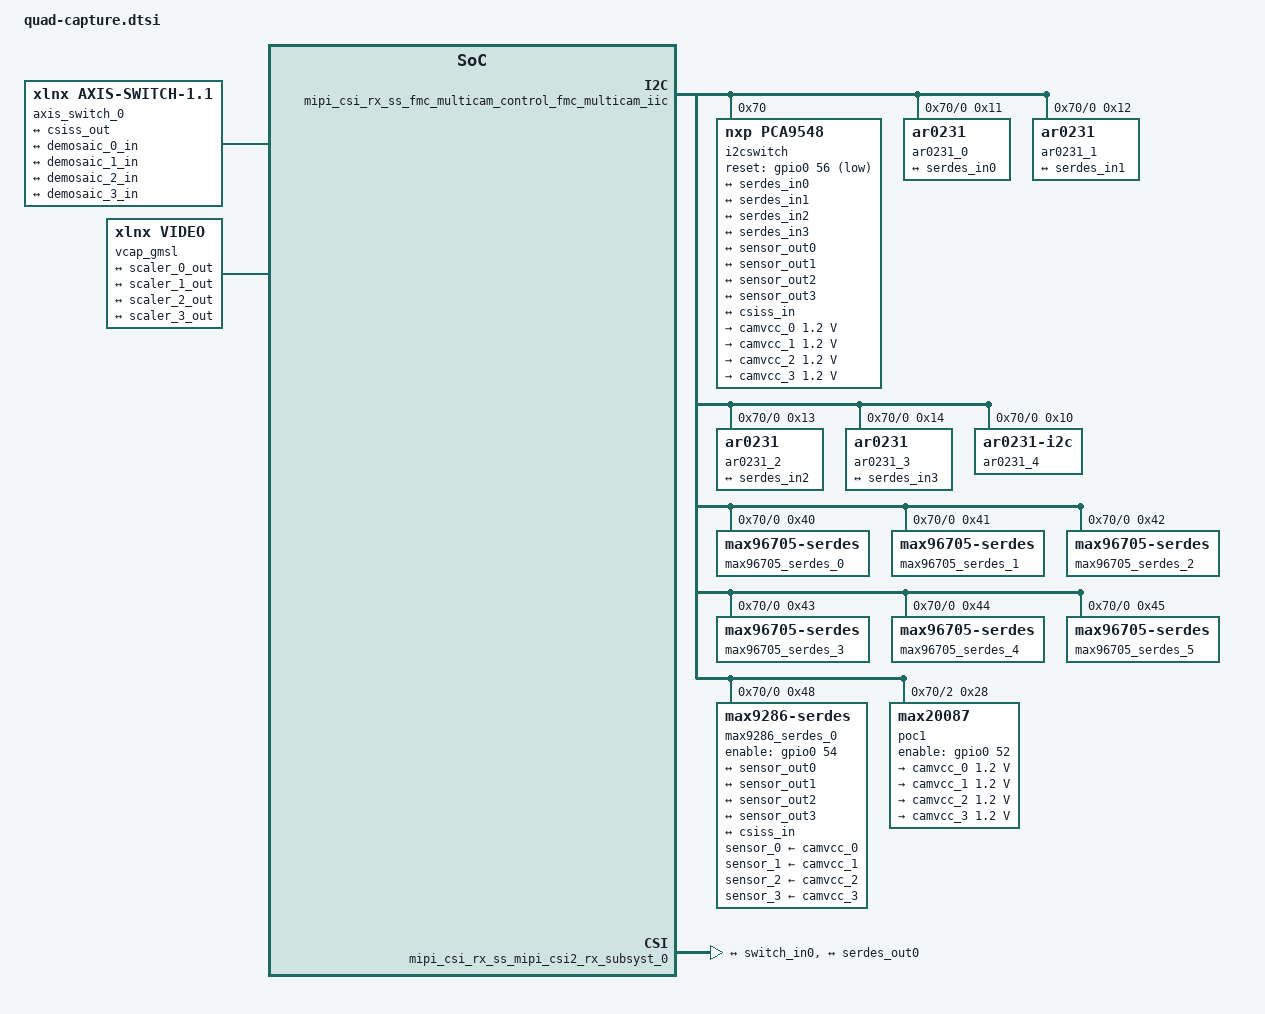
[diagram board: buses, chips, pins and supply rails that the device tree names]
#include <dt-bindings/media/xilinx-vip.h>

&amba_pl {
	cap_pipe_pipe_0_v_demosaic_0: v_demosaic@a40c0000 {
		clock-names = "ap_clk";
		clocks = <&misc_clk_0>;
		compatible = "xlnx,v-demosaic-1.0", "xlnx,v-demosaic";
		reg = <0x0 0xa40c0000 0x0 0x10000>;
		reset-gpios = <&gpio0 27 1>;
		xlnx,max-height = <1080>;
		xlnx,max-width = <1920>;
		xlnx,s-axi-ctrl-addr-width = <6>;
		xlnx,s-axi-ctrl-data-width = <32>;
		ports {
			#address-cells = <1>;
			#size-cells = <0>;

			port@0 {
				reg = <0>;

				xlnx,video-width = <8>;
				xlnx,cfa-pattern = "grbg";

				demosaic_0_in: endpoint {
					remote-endpoint = <&switch_out0>;
				};
			};

			port@1 {
				reg = <1>;

				xlnx,video-width = <8>;

				demosaic_0_out: endpoint {
					remote-endpoint = <&scaler_0_in>;
				};
			};
		};
	};
	cap_pipe_pipe_0_v_scaler_0: scaler@a4080000 {
		compatible = "xlnx,v-vpss-scaler-2.2";
		reg = <0x0 0xa4080000 0x0 0x40000>;
		clock-names = "aclk_axis", "aclk_ctrl";
		clocks = <&misc_clk_0>, <&misc_clk_0>;
		xlnx,num-hori-taps = <6>;
		xlnx,num-vert-taps = <6>;
		xlnx,pix-per-clk = <2>;
		reset-gpios = <&gpio0 28 1>;
		xlnx,max-width = <1920>;
		xlnx,max-height = <1080>;

		ports {
			#address-cells = <1>;
			#size-cells = <0>;

			port@0 {
				reg = <0>;
				xlnx,video-format = <XVIP_VF_RBG>;
				xlnx,video-width = <8>;

				scaler_0_in: endpoint {
				        remote-endpoint = <&demosaic_0_out>;
				};
			};
			port@1 {
				reg = <1>;
				xlnx,video-format = <XVIP_VF_YUV_422>;
				xlnx,video-width = <8>;

				scaler_0_out: endpoint {
				        remote-endpoint = <&vcap_gmsl_in0>;
				};
			};
		};
	};

	cap_pipe_pipe_0_v_frmbuf_wr_0: v_frmbuf_wr@a40D0000 {
		#dma-cells = <1>;
		clock-names = "ap_clk";
		clocks = <&misc_clk_0>;
		compatible = "xlnx,v-frmbuf-wr-2.1", "xlnx,axi-frmbuf-wr-v2.1";
		interrupt-names = "interrupt";
		interrupt-parent = <&gic>;
		interrupts = <0 92 4>;
		reg = <0x0 0xa40D0000 0x0 0x10000>;
		reset-gpios = <&gpio0 29 1>;
		xlnx,dma-addr-width = <64>;
		xlnx,dma-align = <16>;
		xlnx,max-height = <1080>;
		xlnx,max-width = <1920>;
		xlnx,pixels-per-clock = <2>;
		xlnx,s-axi-ctrl-addr-width = <0x7>;
		xlnx,s-axi-ctrl-data-width = <0x20>;
		xlnx,vid-formats = "rgb888", "bgr888", "yuyv";
		xlnx,video-width = <8>;
	};
	cap_pipe_pipe_1_v_demosaic_1: v_demosaic@a40e0000 {
		clock-names = "ap_clk";
		clocks = <&misc_clk_0>;
		compatible = "xlnx,v-demosaic-1.0", "xlnx,v-demosaic";
		reg = <0x0 0xa40e0000 0x0 0x10000>;
		reset-gpios = <&gpio0 30 1>;
		xlnx,max-height = <1080>;
		xlnx,max-width = <1920>;
		xlnx,s-axi-ctrl-addr-width = <6>;
		xlnx,s-axi-ctrl-data-width = <32>;

		ports {
			#address-cells = <1>;
			#size-cells = <0>;

			port@0 {
				reg = <0>;

				xlnx,video-width = <8>;
				xlnx,cfa-pattern = "grbg";

				demosaic_1_in: endpoint {
					remote-endpoint = <&switch_out1>;
				};
			};

			port@1 {
				reg = <1>;

				xlnx,video-width = <8>;

				demosaic_1_out: endpoint {
					remote-endpoint = <&scaler_1_in>;
				};
			};
		};
	};
	cap_pipe_pipe_1_v_scaler_1: scaler@a4100000 {
		compatible = "xlnx,v-vpss-scaler-2.2";
		reg = <0x0 0xa4100000 0x0 0x40000>;
		clock-names = "aclk_axis", "aclk_ctrl";
		clocks = <&misc_clk_0>, <&misc_clk_0>;
		xlnx,num-hori-taps = <6>;
		xlnx,num-vert-taps = <6>;
		xlnx,pix-per-clk = <2>;
		reset-gpios = <&gpio0 31 1>;
		xlnx,max-width = <1920>;
		xlnx,max-height = <1080>;

		ports {
			#address-cells = <1>;
			#size-cells = <0>;

			port@0 {
				reg = <0>;
				xlnx,video-format = <XVIP_VF_RBG>;
				xlnx,video-width = <8>;

				scaler_1_in: endpoint {
				        remote-endpoint = <&demosaic_1_out>;
				};
			};
			port@1 {
				reg = <1>;
				xlnx,video-format = <XVIP_VF_YUV_422>;
				xlnx,video-width = <8>;

				scaler_1_out: endpoint {
				        remote-endpoint = <&vcap_gmsl_in1>;
				};
			};
		};
	};
	cap_pipe_pipe_1_v_frmbuf_wr_1: v_frmbuf_wr@a40f0000 {
		#dma-cells = <1>;
		clock-names = "ap_clk";
		clocks = <&misc_clk_0>;
		compatible = "xlnx,v-frmbuf-wr-2.1", "xlnx,axi-frmbuf-wr-v2.1";
		interrupt-names = "interrupt";
		interrupt-parent = <&gic>;
		interrupts = <0 93 4>;
		reg = <0x0 0xa40f0000 0x0 0x10000>;
		reset-gpios = <&gpio0 32 1>;
		xlnx,dma-addr-width = <64>;
		xlnx,dma-align = <16>;
		xlnx,max-height = <1080>;
		xlnx,max-width = <1920>;
		xlnx,pixels-per-clock = <2>;
		xlnx,s-axi-ctrl-addr-width = <0x7>;
		xlnx,s-axi-ctrl-data-width = <0x20>;
		xlnx,vid-formats = "rgb888", "bgr888", "yuyv";
		xlnx,video-width = <8>;
	};
	cap_pipe_pipe_2_v_demosaic_2: v_demosaic@a4180000 {
		clock-names = "ap_clk";
		clocks = <&misc_clk_0>;
		compatible = "xlnx,v-demosaic-1.0", "xlnx,v-demosaic";
		reg = <0x0 0xa4180000 0x0 0x10000>;
		reset-gpios = <&gpio0 33 1>;
		xlnx,max-height = <1080>;
		xlnx,max-width = <1920>;
		xlnx,s-axi-ctrl-addr-width = <6>;
		xlnx,s-axi-ctrl-data-width = <32>;

		ports {
			#address-cells = <1>;
			#size-cells = <0>;

			port@0 {
				reg = <0>;

				xlnx,video-width = <8>;
				xlnx,cfa-pattern = "grbg";

				demosaic_2_in: endpoint {
					remote-endpoint = <&switch_out2>;
				};
			};

			port@1 {
				reg = <1>;

				xlnx,video-width = <8>;

				demosaic_2_out: endpoint {
					remote-endpoint = <&scaler_2_in>;
				};
			};
		};
	};
	cap_pipe_pipe_2_v_scaler_2: scaler@a4140000 {
		compatible = "xlnx,v-vpss-scaler-2.2";
		reg = <0x0 0xa4140000 0x0 0x40000>;
		clock-names = "aclk_axis", "aclk_ctrl";
		clocks = <&misc_clk_0>, <&misc_clk_0>;
		xlnx,num-hori-taps = <6>;
		xlnx,num-vert-taps = <6>;
		xlnx,pix-per-clk = <2>;
		reset-gpios = <&gpio0 34 1>;
		xlnx,max-width = <1920>;
		xlnx,max-height = <1080>;

		ports {
			#address-cells = <1>;
			#size-cells = <0>;

			port@0 {
				reg = <0>;
				xlnx,video-format = <XVIP_VF_RBG>;
				xlnx,video-width = <8>;

				scaler_2_in: endpoint {
				        remote-endpoint = <&demosaic_2_out>;
				};
			};
			port@1 {
				reg = <1>;
				xlnx,video-format = <XVIP_VF_YUV_422>;
				xlnx,video-width = <8>;

				scaler_2_out: endpoint {
				        remote-endpoint = <&vcap_gmsl_in2>;
				};
			};
		};
	};
	cap_pipe_pipe_2_v_frmbuf_wr_2: v_frmbuf_wr@a4190000 {
		#dma-cells = <1>;
		clock-names = "ap_clk";
		clocks = <&misc_clk_0>;
		compatible = "xlnx,v-frmbuf-wr-2.1", "xlnx,axi-frmbuf-wr-v2.1";
		interrupt-names = "interrupt";
		interrupt-parent = <&gic>;
		interrupts = <0 94 4>;
		reg = <0x0 0xa4190000 0x0 0x10000>;
		reset-gpios = <&gpio0 35 1>;
		xlnx,dma-addr-width = <64>;
		xlnx,dma-align = <16>;
		xlnx,max-height = <1080>;
		xlnx,max-width = <1920>;
		xlnx,pixels-per-clock = <2>;
		xlnx,s-axi-ctrl-addr-width = <0x7>;
		xlnx,s-axi-ctrl-data-width = <0x20>;
		xlnx,vid-formats = "rgb888", "bgr888", "yuyv";
		xlnx,video-width = <8>;
	};
	cap_pipe_pipe_3_v_demosaic_3: v_demosaic@a41a0000 {
		clock-names = "ap_clk";
		clocks = <&misc_clk_0>;
		compatible = "xlnx,v-demosaic-1.0", "xlnx,v-demosaic";
		reg = <0x0 0xa41a0000 0x0 0x10000>;
		reset-gpios = <&gpio0 36 1>;
		xlnx,max-height = <1080>;
		xlnx,max-width = <1920>;
		xlnx,s-axi-ctrl-addr-width = <6>;
		xlnx,s-axi-ctrl-data-width = <32>;

		ports {
			#address-cells = <1>;
			#size-cells = <0>;

			port@0 {
				reg = <0>;

				xlnx,video-width = <8>;
				xlnx,cfa-pattern = "grbg";

				demosaic_3_in: endpoint {
					remote-endpoint = <&switch_out3>;
				};
			};

			port@1 {
				reg = <1>;

				xlnx,video-width = <8>;

				demosaic_3_out: endpoint {
					remote-endpoint = <&scaler_3_in>;
				};
			};
		};
	};
	cap_pipe_pipe_3_v_scaler_3: scaler@a41c0000 {
		compatible = "xlnx,v-vpss-scaler-2.2";
		reg = <0x0 0xa41c0000 0x0 0x40000>;
		clock-names = "aclk_axis", "aclk_ctrl";
		clocks = <&misc_clk_0>, <&misc_clk_0>;
		xlnx,num-hori-taps = <6>;
		xlnx,num-vert-taps = <6>;
		xlnx,pix-per-clk = <2>;
		reset-gpios = <&gpio0 37 1>;
		xlnx,max-width = <1920>;
		xlnx,max-height = <1080>;

		ports {
			#address-cells = <1>;
			#size-cells = <0>;

			port@0 {
				reg = <0>;
				xlnx,video-format = <XVIP_VF_RBG>;
				xlnx,video-width = <8>;

				scaler_3_in: endpoint {
				        remote-endpoint = <&demosaic_3_out>;
				};
			};
			port@1 {
				reg = <1>;
				xlnx,video-format = <XVIP_VF_YUV_422>;
				xlnx,video-width = <8>;

				scaler_3_out: endpoint {
				        remote-endpoint = <&vcap_gmsl_in3>;
				};
			};
		};
	};
	cap_pipe_pipe_3_v_frmbuf_wr_3: v_frmbuf_wr@a41b0000 {
		#dma-cells = <1>;
		clock-names = "ap_clk";
		clocks = <&misc_clk_0>;
		compatible = "xlnx,v-frmbuf-wr-2.1", "xlnx,axi-frmbuf-wr-v2.1";
		interrupt-names = "interrupt";
		interrupt-parent = <&gic>;
		interrupts = <0 95 4>;
		reg = <0x0 0xa41b0000 0x0 0x10000>;
		reset-gpios = <&gpio0 38 1>;
		xlnx,dma-addr-width = <64>;
		xlnx,dma-align = <16>;
		xlnx,max-height = <1080>;
		xlnx,max-width = <1920>;
		xlnx,pixels-per-clock = <2>;
		xlnx,s-axi-ctrl-addr-width = <0x7>;
		xlnx,s-axi-ctrl-data-width = <0x20>;
		xlnx,vid-formats = "rgb888", "bgr888", "yuyv";
		xlnx,video-width = <8>;
	};

	mipi_csi_rx_ss_fmc_multicam_control_fmc_multicam_iic: i2c@a4070000 {
		#address-cells = <1>;
		#size-cells = <0>;
		clock-names = "s_axi_aclk";
		clocks = <&versal_clk 65>;
		compatible = "xlnx,axi-iic-2.0", "xlnx,xps-iic-2.00.a";
		interrupt-names = "iic2intc_irpt";
		interrupt-parent = <&gic>;
		interrupts = <0 91 4>;
		reg = <0x0 0xa4070000 0x0 0x10000>;

		i2cswitch@70 {
			compatible = "nxp,pca9548";
			#address-cells = <1>;
			#size-cells = <0>;
			reg = <0x70>;
			reset-gpios = <&gpio0 56 1>;

			i2c@0 {
				#address-cells = <1>;
				#size-cells = <0>;
				reg = <0>;

				ar0231_0: sensor@11 {
					compatible = "ar0231";
					reg = <0x11>;
					#address-cells = <1>;
					#size-cells = <0>;

					port@0 {
						reg = <0>;
						sensor_out0: endpoint {
							remote-endpoint = <&serdes_in0>;
						};
					};
				};

				ar0231_1: sensor@12 {
					compatible = "ar0231";
					reg = <0x12>;
					#address-cells = <1>;
					#size-cells = <0>;

					port@0 {
						reg = <0>;
						sensor_out1: endpoint {
							remote-endpoint = <&serdes_in1>;
						};
					};
				};

				ar0231_2: sensor@13 {
					compatible = "ar0231";
					reg = <0x13>;
					#address-cells = <1>;
					#size-cells = <0>;

					port@0 {
						reg = <0>;
						sensor_out2: endpoint {
							remote-endpoint = <&serdes_in2>;
						};
					};
				};

				ar0231_3: sensor@14 {
					compatible = "ar0231";
					reg = <0x14>;
					#address-cells = <1>;
					#size-cells = <0>;

					port@0 {
						reg = <0>;
						sensor_out3: endpoint {
							remote-endpoint = <&serdes_in3>;
						};
					};
				};

				ar0231_4: sensor@10 {
					compatible = "ar0231-i2c";
					reg = <0x10>;
					#address-cells = <1>;
					#size-cells = <0>;
				};

				max96705_serdes_0: serdes@40 {
					compatible = "max96705-serdes";
					reg = <0x40>;
				};
				max96705_serdes_1: serdes@41 {
					compatible = "max96705-serdes";
					reg = <0x41>;
				};
				max96705_serdes_2: serdes@42 {
					compatible = "max96705-serdes";
					reg = <0x42>;
				};
				max96705_serdes_3: serdes@43 {
					compatible = "max96705-serdes";
					reg = <0x43>;
				};
				max96705_serdes_4: serdes@44 {
					compatible = "max96705-serdes";
					reg = <0x44>;
				};
				max96705_serdes_5: serdes@45 {
					compatible = "max96705-serdes";
					reg = <0x45>;
				};

				max9286_serdes_0: serdes@48 {
					compatible = "max9286-serdes";
					reg = <0x48>;
					num-si-slots = <0x4>;
					num-mi-slots = <0x1>;
					cam-config = <0x6>;
					mipi-lanes = <0x4>;
					pixel-freq = <75>;
					sensor_0-supply = <&camvcc_0>;
					sensor_1-supply = <&camvcc_1>;
					sensor_2-supply = <&camvcc_2>;
					sensor_3-supply = <&camvcc_3>;

					enable-gpios = <&gpio0 54 0>;

					serializer_adapter_default	= <&max96705_serdes_0>;
					serializer_adapter_brdcast	= <&max96705_serdes_5>;
					sensor_adapter_brdcast = <&ar0231_4>;

					ports {
						#address-cells = <1>;
						#size-cells = <0>;

						port@0 {
							reg = <0>;
							enable = <1>;
							video-format = <12>;
							video-width = <8>;
							cfa-pattern = "rggb";
							serializer_adapter_link0 = <&max96705_serdes_1>;
							sensor_adapter_0 = <&ar0231_0>;
							serdes_in0: endpoint {
								remote-endpoint = <&sensor_out0>;
							};
						};
						port@1 {
							reg = <1>;
							enable = <1>;
							video-format = <12>;
							video-width = <8>;
							cfa-pattern = "rggb";
							serializer_adapter_link1 = <&max96705_serdes_2>;
							sensor_adapter_1 = <&ar0231_1>;
							serdes_in1: endpoint {
								remote-endpoint = <&sensor_out1>;
							};
						};
						port@2 {
							reg = <2>;
							enable = <1>;
							video-format = <12>;
							video-width = <8>;
							cfa-pattern = "rggb";
							serializer_adapter_link2 = <&max96705_serdes_3>;
							sensor_adapter_2 = <&ar0231_2>;
							serdes_in2: endpoint {
								remote-endpoint = <&sensor_out2>;
							};
						};
						port@3 {
							reg = <3>;
							enable = <1>;
							video-format = <12>;
							video-width = <8>;
							cfa-pattern = "rggb";
							serializer_adapter_link3 = <&max96705_serdes_4>;
							sensor_adapter_3 = <&ar0231_3>;
							serdes_in3: endpoint {
								remote-endpoint = <&sensor_out3>;
							};
						};
						port@4 {
							reg = <4>;
							enable = <1>;
							video-format = <12>;
							video-width = <8>;
							cfa-pattern = "rggb";
							serdes_out0: endpoint {
								remote-endpoint = <&csiss_in>;
							};
						};
					};
				};
			};

			i2c@2 {
				#address-cells = <1>;
				#size-cells = <0>;
				reg = <2>;

				poc1: poc@28 {
					compatible = "max20087";
					reg = <0x28>;

					enable-gpios = <&gpio0 52 0>;

					regulators {
						camvcc_0: OUT1 {
							regulator-name = "CAP0_VOUT1";
							regulator-min-microvolt = <1200000>;
							regulator-max-microvolt = <1200000>;
							regulator-min-microamp	= <600000>;
							regulator-max-microamp	= <600000>;
						};
						camvcc_1: OUT2 {
							regulator-name = "CAP0_VOUT2";
							regulator-min-microvolt = <1200000>;
							regulator-max-microvolt = <1200000>;
							regulator-min-microamp	= <600000>;
							regulator-max-microamp	= <600000>;
						};
						camvcc_2: OUT3 {
							regulator-name = "CAP0_VOUT3";
							regulator-min-microvolt = <1200000>;
							regulator-max-microvolt = <1200000>;
							regulator-min-microamp	= <600000>;
							regulator-max-microamp	= <600000>;
						};
						camvcc_3: OUT4 {
							regulator-name = "CAP0_VOUT4";
							regulator-min-microvolt = <1200000>;
							regulator-max-microvolt = <1200000>;
							regulator-min-microamp	= <600000>;
							regulator-max-microamp	= <600000>;
						};
					};
				};
			};
		};
	};

	mipi_csi_rx_ss_mipi_csi2_rx_subsyst_0: mipi_csi2_rx_subsystem@a4060000 {
		clock-names = "lite_aclk", "dphy_clk_200M", "video_aclk";
		clocks = <&versal_clk 65>, <&misc_clk_4>, <&misc_clk_0>;
		compatible = "xlnx,mipi-csi2-rx-subsystem-4.0", "xlnx,mipi-csi2-rx-subsystem-4.0";
		interrupt-names = "csirxss_csi_irq";
		interrupt-parent = <&gic>;
		interrupts = <0 90 4>;
		reg = <0x0 0xa4060000 0x0 0x10000>;
		xlnx,axis-tdata-width = <32>;
		xlnx,cal-mode = "NONE";
		xlnx,clk-io-swap = "false";
		xlnx,clk-lane-io-position = <0x0>;
		xlnx,clk-lp-io-swap = "false";
		xlnx,csi-en-activelanes = "true";
		xlnx,csi-en-crc = "true";
		xlnx,csi-filter-userdatatype = "true";
		xlnx,csi-opt1-regs = "false";

		xlnx,csi-pxl-format = "RAW8";
		xlnx,csi2rx-dbg = <0x0>;
		xlnx,data-lane0-io-position = <0x2>;
		xlnx,data-lane1-io-position = <0x4>;
		xlnx,data-lane2-io-position = <0x6>;
		xlnx,data-lane3-io-position = <0x8>;
		xlnx,dl0-io-swap = "false";
		xlnx,dl0-lp-io-swap = "false";
		xlnx,dl1-io-swap = "false";
		xlnx,dl1-lp-io-swap = "false";
		xlnx,dl2-io-swap = "false";
		xlnx,dl2-lp-io-swap = "false";
		xlnx,dl3-io-swap = "false";
		xlnx,dl3-lp-io-swap = "false";
		xlnx,dphy-lanes = <0x4>;
		xlnx,dphy-mode = "SLAVE";
		xlnx,en-active-lanes ;
		xlnx,en-bg0-pin0 = "false";
		xlnx,en-bg0-pin6 = "false";
		xlnx,en-bg1-pin0 = "false";
		xlnx,en-bg1-pin6 = "false";
		xlnx,en-bg2-pin0 = "false";
		xlnx,en-bg2-pin6 = "false";
		xlnx,en-bg3-pin0 = "false";
		xlnx,en-bg3-pin6 = "false";
		xlnx,en-clk300m = "false";
		xlnx,en-csi-v2-0 = "false";
		xlnx,en-exdesigns = "false";
		xlnx,en-timeout-regs = "false";
		xlnx,esc-timeout = <0x6400>;
		xlnx,exdes-board = "ZCU102";
		xlnx,exdes-config = "MIPI_Video_Pipe_Camera_to_Display";
		xlnx,exdes-fmc = "LI-IMX274MIPI-FMC V1.0 Single Sensor";
		xlnx,fifo-rd-en-control = "true";
		xlnx,hs-line-rate = <0x5dc>;
		xlnx,hs-settle-ns = <0x8d>;
		xlnx,hs-timeout = <0x10005>;
		xlnx,idly-group-name = "mipi_csi2rx_idly_group";
		xlnx,idly-tap = <0x1>;
		xlnx,init = <0x186a0>;
		xlnx,is-7series = "false";
		xlnx,is-versal = "true";
		xlnx,max-lanes = <4>;
		xlnx,mipi-slv-int = <0x0>;
		xlnx,ppc = <2>;
		xlnx,rcve-deskew-seq = "false";
		xlnx,share-idlyctrl = "false";
		xlnx,stretch-line-rate = <0x9c4>;
		xlnx,vc = <4>;
		xlnx,vfb ;

		ports {
			#address-cells = <1>;
			#size-cells = <0>;

			port@0 {
				reg = <0>;

				xlnx,video-format = <12>;
				xlnx,video-width = <8>;
				xlnx,cfa-pattern = "rggb";

				csiss_out: endpoint {
					remote-endpoint = <&switch_in0>;
				};
			};
			port@1 {
				reg = <1>;

				xlnx,video-format = <12>;
				xlnx,video-width = <8>;
				xlnx,cfa-pattern = "rggb";

				csiss_in: endpoint {
					data-lanes = <1 2 3 4>;
					remote-endpoint = <&serdes_out0>;
				};
			};
		};
	};

	axis_switch_0: axis_switch@0 {

		compatible = "xlnx,axis-switch-1.1";

		xlnx,routing-mode = <0x0>;
		xlnx,num-si-slots = <0x1>;
		xlnx,num-mi-slots = <0x4>;
		clocks = <&misc_clk_0>;
		clock-names = "aclk";

		ports {
			#address-cells = <1>;
			#size-cells = <0>;
			port@0 {
				reg = <0>;
				xlnx,video-format = <12>;
				xlnx,video-width = <8>;
				switch_in0: endpoint {
					remote-endpoint = <&csiss_out>;
				};
			};
			port@1 {
				reg = <1>;
				xlnx,video-format = <12>;
				xlnx,video-width = <8>;
				switch_out0: endpoint {
					remote-endpoint = <&demosaic_0_in>;
				};
			};
			port@2 {
				reg = <2>;
				xlnx,video-format = <12>;
				xlnx,video-width = <8>;
				switch_out1: endpoint {
					remote-endpoint = <&demosaic_1_in>;
				};
			};
			port@3 {
				reg = <3>;
				xlnx,video-format = <12>;
				xlnx,video-width = <8>;
				switch_out2: endpoint {
					remote-endpoint = <&demosaic_2_in>;
				};
			};
			port@4 {
				reg = <4>;
				xlnx,video-format = <12>;
				xlnx,video-width = <8>;
				switch_out3: endpoint {
					remote-endpoint = <&demosaic_3_in>;
				};
			};
		};
	};

	vcap_gmsl {
		compatible = "xlnx,video";
		dmas = <&cap_pipe_pipe_0_v_frmbuf_wr_0 0>, <&cap_pipe_pipe_1_v_frmbuf_wr_1 0>, <&cap_pipe_pipe_2_v_frmbuf_wr_2 0>, <&cap_pipe_pipe_3_v_frmbuf_wr_3 0>;
		dma-names = "port0", "port1", "port2", "port3";

		ports {
			#address-cells = <1>;
			#size-cells = <0>;

			port@0 {
				reg = <0>;
				direction = "input";

				vcap_gmsl_in0: endpoint {
					remote-endpoint = <&scaler_0_out>;
				};
			};

			port@1 {
				reg = <1>;
				direction = "input";

				vcap_gmsl_in1: endpoint {
					remote-endpoint = <&scaler_1_out>;
				};
			};

			port@2 {
				reg = <2>;
				direction = "input";

				vcap_gmsl_in2: endpoint {
					remote-endpoint = <&scaler_2_out>;
				};
			};

			port@3 {
				reg = <3>;
				direction = "input";

				vcap_gmsl_in3: endpoint {
					remote-endpoint = <&scaler_3_out>;
				};
			};
		};
	};
};
